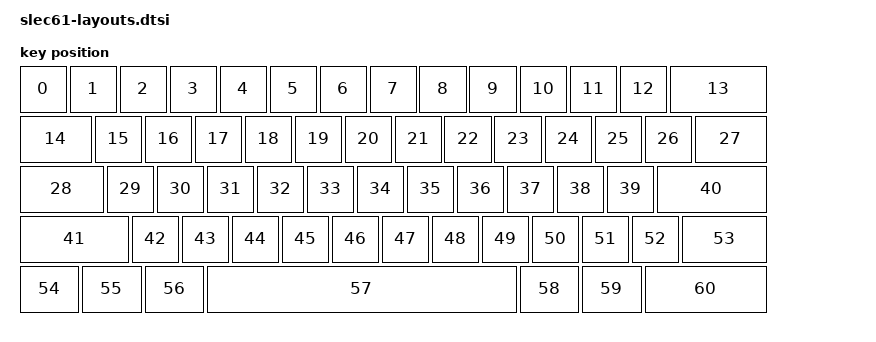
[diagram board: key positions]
#include <physical_layouts.dtsi>

/ {
    slec61_physical_layout: slec61_physical_layout {
        compatible = "zmk,physical-layout";
        display-name = "Default Layout";
        transform = <&default_transform>;
        kscan = <&kscan0>;
        keys  //                   w     h      x      y   rot  rx   ry
            = <&key_physical_attrs  100   100      0      0    0   0    0>  // R0C0  ESC
            , <&key_physical_attrs  100   100    100      0    0   0    0>  // R0C1  1
            , <&key_physical_attrs  100   100    200      0    0   0    0>  // R0C2  2
            , <&key_physical_attrs  100   100    300      0    0   0    0>  // R0C3  3
            , <&key_physical_attrs  100   100    400      0    0   0    0>  // R0C4  4
            , <&key_physical_attrs  100   100    500      0    0   0    0>  // R0C5  5
            , <&key_physical_attrs  100   100    600      0    0   0    0>  // R0C6  6
            , <&key_physical_attrs  100   100    700      0    0   0    0>  // R0C7  7
            , <&key_physical_attrs  100   100    800      0    0   0    0>  // R0C8  8
            , <&key_physical_attrs  100   100    900      0    0   0    0>  // R0C9  9
            , <&key_physical_attrs  100   100   1000      0    0   0    0>  // R0C10 0
            , <&key_physical_attrs  100   100   1100      0    0   0    0>  // R0C11 -
            , <&key_physical_attrs  100   100   1200      0    0   0    0>  // R0C12 =
            , <&key_physical_attrs  200   100   1300      0    0   0    0>  // R0C13 BKSP

            , <&key_physical_attrs  150   100      0    100    0   0    0>  // R1C0  TAB
            , <&key_physical_attrs  100   100    150    100    0   0    0>  // R1C1  Q
            , <&key_physical_attrs  100   100    250    100    0   0    0>  // R1C2  W
            , <&key_physical_attrs  100   100    350    100    0   0    0>  // R1C3  E
            , <&key_physical_attrs  100   100    450    100    0   0    0>  // R1C4  R
            , <&key_physical_attrs  100   100    550    100    0   0    0>  // R1C5  T
            , <&key_physical_attrs  100   100    650    100    0   0    0>  // R1C6  Y
            , <&key_physical_attrs  100   100    750    100    0   0    0>  // R1C7  U
            , <&key_physical_attrs  100   100    850    100    0   0    0>  // R1C8  I
            , <&key_physical_attrs  100   100    950    100    0   0    0>  // R1C9  O
            , <&key_physical_attrs  100   100   1050    100    0   0    0>  // R1C10 P
            , <&key_physical_attrs  100   100   1150    100    0   0    0>  // R1C11 [
            , <&key_physical_attrs  100   100   1250    100    0   0    0>  // R1C12 ]
            , <&key_physical_attrs  150   100   1350    100    0   0    0>  // R1C13 BSLH

            , <&key_physical_attrs  175   100      0    200    0   0    0>  // R2C0  CAPS
            , <&key_physical_attrs  100   100    175    200    0   0    0>  // R2C1  A
            , <&key_physical_attrs  100   100    275    200    0   0    0>  // R2C2  S
            , <&key_physical_attrs  100   100    375    200    0   0    0>  // R2C3  D
            , <&key_physical_attrs  100   100    475    200    0   0    0>  // R2C4  F
            , <&key_physical_attrs  100   100    575    200    0   0    0>  // R2C5  G
            , <&key_physical_attrs  100   100    675    200    0   0    0>  // R2C6  H
            , <&key_physical_attrs  100   100    775    200    0   0    0>  // R2C7  J
            , <&key_physical_attrs  100   100    875    200    0   0    0>  // R2C8  K
            , <&key_physical_attrs  100   100    975    200    0   0    0>  // R2C9  L
            , <&key_physical_attrs  100   100   1075    200    0   0    0>  // R2C10 ;
            , <&key_physical_attrs  100   100   1175    200    0   0    0>  // R2C11 '
            , <&key_physical_attrs  225   100   1275    200    0   0    0>  // R2C13 ENTER

            , <&key_physical_attrs  225   100      0    300    0   0    0>  // R3C0  LSHFT
            , <&key_physical_attrs  100   100    225    300    0   0    0>  // R3C1  Z
            , <&key_physical_attrs  100   100    325    300    0   0    0>  // R3C2  X
            , <&key_physical_attrs  100   100    425    300    0   0    0>  // R3C3  C
            , <&key_physical_attrs  100   100    525    300    0   0    0>  // R3C4  V
            , <&key_physical_attrs  100   100    625    300    0   0    0>  // R3C5  B
            , <&key_physical_attrs  100   100    725    300    0   0    0>  // R3C6  N
            , <&key_physical_attrs  100   100    825    300    0   0    0>  // R3C7  M
            , <&key_physical_attrs  100   100    925    300    0   0    0>  // R3C8  ,
            , <&key_physical_attrs  100   100   1025    300    0   0    0>  // R3C9  .
            , <&key_physical_attrs  100   100   1125    300    0   0    0>  // R3C10 /
            , <&key_physical_attrs  100   100   1225    300    0   0    0>  // R3C11 FN
            , <&key_physical_attrs  175   100   1325    300    0   0    0>  // R3C13 RSHFT

            , <&key_physical_attrs  125   100      0    400    0   0    0>  // R4C0  LCTRL
            , <&key_physical_attrs  125   100    125    400    0   0    0>  // R4C1  LGUI
            , <&key_physical_attrs  125   100    250    400    0   0    0>  // R4C2  LALT
            , <&key_physical_attrs  625   100    375    400    0   0    0>  // R4C5  SPACE
            , <&key_physical_attrs  125   100   1000    400    0   0    0>  // R4C9  RALT
            , <&key_physical_attrs  125   100   1125    400    0   0    0>  // R4C12 MENU
            , <&key_physical_attrs  250   100   1250    400    0   0    0>  // R4C13 RCTRL
            ;
    };
};
